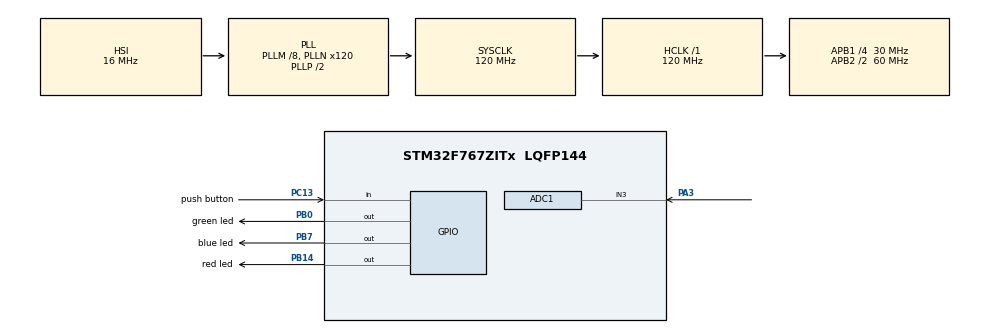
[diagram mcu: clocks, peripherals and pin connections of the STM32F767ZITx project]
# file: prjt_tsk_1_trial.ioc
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ADC1.Channel-0\#ChannelRegularConversion=ADC_CHANNEL_3
ADC1.NbrOfConversionFlag=1
ADC1.Rank-0\#ChannelRegularConversion=1
ADC1.SamplingTime-0\#ChannelRegularConversion=ADC_SAMPLETIME_112CYCLES
ADC1.master=1
FREERTOS.Tasks01=BlinkRedLED,0,128,StartTask01,Default,NULL,Dynamic,NULL,NULL;BlinkBlueLED,0,128,StartTask02,Default,NULL,Dynamic,NULL,NULL;BlinkGreenLED,0,128,StartTask03,Default,NULL,Dynamic,NULL,NULL;PushButton,0,128,StartTask04,Default,NULL,Dynamic,NULL,NULL;adc_pot,0,128,StartTask05,Default,NULL,Dynamic,NULL,NULL
FREERTOS.configUSE_NEWLIB_REENTRANT=1
Mcu.Family=STM32F7
Mcu.Name=STM32F767ZITx
Mcu.Package=LQFP144
NVIC.PriorityGroup=NVIC_PRIORITYGROUP_4
NVIC.TIM2_IRQn=true\:15\:0\:false\:false\:true\:false\:false\:true\:true
NVIC.TimeBase=TIM2_IRQn
NVIC.TimeBaseIP=TIM2
PA13.Mode=Serial_Wire
PA13.Signal=SYS_JTMS-SWDIO
PA14.Mode=Serial_Wire
PA14.Signal=SYS_JTCK-SWCLK
PA3.Signal=ADCx_IN3
PB0.GPIO_Label=green led
PB0.Signal=GPIO_Output
PB14.GPIO_Label=red led
PB14.Signal=GPIO_Output
PB7.GPIO_Label=blue led
PB7.Signal=GPIO_Output
PC13.GPIO_Label=push button
PC13.Signal=GPIO_Input
PH0/OSC_IN.Mode=HSE-External-Oscillator
PH0/OSC_IN.Signal=RCC_OSC_IN
PH1/OSC_OUT.Mode=HSE-External-Oscillator
PH1/OSC_OUT.Signal=RCC_OSC_OUT
ProjectManager.HeapSize=0x200
ProjectManager.StackSize=0x400
ProjectManager.TargetToolchain=STM32CubeIDE
RCC.48MHZClocksFreq_Value=24000000
RCC.AHBFreq_Value=120000000
RCC.APB1CLKDivider=RCC_HCLK_DIV4
RCC.APB1Freq_Value=30000000
RCC.APB1TimFreq_Value=60000000
RCC.APB2CLKDivider=RCC_HCLK_DIV2
RCC.APB2Freq_Value=60000000
RCC.APB2TimFreq_Value=120000000
RCC.CortexFreq_Value=120000000
RCC.HCLKFreq_Value=120000000
RCC.HSE_VALUE=8000000
RCC.HSI_VALUE=16000000
RCC.LSE_VALUE=32768
RCC.PLLM=8
RCC.PLLMUL=RCC_PLL_MUL9
RCC.PLLN=120
RCC.PLLQ=4
RCC.PRESCALERUSB=RCC_USBCLKSOURCE_PLL_DIV1_5
RCC.SYSCLKFreq_VALUE=120000000
RCC.SYSCLKSource=RCC_SYSCLKSOURCE_PLLCLK
RCC.SYSCLKSourceVirtual=RCC_SYSCLKSOURCE_PLLCLK
RCC.USBFreq_Value=60000000
RCC.VCOOutputFreq_Value=240000000
SH.ADCx_IN3.0=ADC1_IN3,IN3
VP_FREERTOS_VS_CMSIS_V1.Mode=CMSIS_V1
VP_SYS_VS_tim2.Mode=TIM2
board=NUCLEO-F767ZI

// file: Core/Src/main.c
/* USER CODE BEGIN Header */
/**
  ******************************************************************************
  * @file           : main.c
  * @brief          : Main program body
  ******************************************************************************
  * @attention
  *
  * Copyright (c) 2024 STMicroelectronics.
  * All rights reserved.
  *
  * This software is licensed under terms that can be found in the LICENSE file
  * in the root directory of this software component.
  * If no LICENSE file comes with this software, it is provided AS-IS.
  *
  ******************************************************************************
  */
/* USER CODE END Header */
#include "main.h"
#include "cmsis_os.h"

ADC_HandleTypeDef hadc1;

osThreadId BlinkRedLEDHandle;
osThreadId BlinkBlueLEDHandle;
osThreadId BlinkGreenLEDHandle;
osThreadId PushButtonHandle;
osThreadId adc_potHandle;

void SystemClock_Config(void);
static void MX_GPIO_Init(void);
static void MX_ADC1_Init(void);
void StartTask01(void);
void StartTask02(void);
void StartTask03(void);
void StartTask04(void);

int main(void)
{

  /* MCU Configuration--------------------------------------------------------*/

  /* Reset of all peripherals, Initializes the Flash interface and the Systick. */
  HAL_Init();

  /* Configure the system clock */
  SystemClock_Config();

  /* Initialize all configured peripherals */
  MX_GPIO_Init();
  MX_ADC1_Init();

  /* Create the thread(s) */
  /* definition and creation of BlinkRedLED */
  osThreadDef(BlinkRedLED, StartTask01, osPriorityNormal, 0, 128);
  BlinkRedLEDHandle = osThreadCreate(osThread(BlinkRedLED), NULL);

  /* definition and creation of BlinkBlueLED */
  osThreadDef(BlinkBlueLED, StartTask02, osPriorityNormal, 0, 128);
  BlinkBlueLEDHandle = osThreadCreate(osThread(BlinkBlueLED), NULL);

  /* definition and creation of BlinkGreenLED */
  osThreadDef(BlinkGreenLED, StartTask03, osPriorityNormal, 0, 128);
  BlinkGreenLEDHandle = osThreadCreate(osThread(BlinkGreenLED), NULL);

  /* definition and creation of PushButton */
  osThreadDef(PushButton, StartTask04, osPriorityNormal, 0, 128);
  PushButtonHandle = osThreadCreate(osThread(PushButton), NULL);

  /* definition and creation of adc_pot */

  /* Start scheduler */
  osKernelStart();

  /* We should never get here as control is now taken by the scheduler */

  /* Infinite loop */
  while (1)
  {

  }
}

void SystemClock_Config(void)
{
  RCC_OscInitTypeDef RCC_OscInitStruct = {0};
  RCC_ClkInitTypeDef RCC_ClkInitStruct = {0};

  /** Configure the main internal regulator output voltage
  */
  __HAL_RCC_PWR_CLK_ENABLE();
  __HAL_PWR_VOLTAGESCALING_CONFIG(PWR_REGULATOR_VOLTAGE_SCALE3);

  /** Initializes the RCC Oscillators according to the specified parameters
  * in the RCC_OscInitTypeDef structure.
  */
  RCC_OscInitStruct.OscillatorType = RCC_OSCILLATORTYPE_HSI;
  RCC_OscInitStruct.HSIState = RCC_HSI_ON;
  RCC_OscInitStruct.HSICalibrationValue = RCC_HSICALIBRATION_DEFAULT;
  RCC_OscInitStruct.PLL.PLLState = RCC_PLL_ON;
  RCC_OscInitStruct.PLL.PLLSource = RCC_PLLSOURCE_HSI;
  RCC_OscInitStruct.PLL.PLLM = 8;
  RCC_OscInitStruct.PLL.PLLN = 120;
  RCC_OscInitStruct.PLL.PLLP = RCC_PLLP_DIV2;
  RCC_OscInitStruct.PLL.PLLQ = 4;
  RCC_OscInitStruct.PLL.PLLR = 2;
  if (HAL_RCC_OscConfig(&RCC_OscInitStruct) != HAL_OK)
  {
    Error_Handler();
  }

  /** Initializes the CPU, AHB and APB buses clocks
  */
  RCC_ClkInitStruct.ClockType = RCC_CLOCKTYPE_HCLK|RCC_CLOCKTYPE_SYSCLK
                              |RCC_CLOCKTYPE_PCLK1|RCC_CLOCKTYPE_PCLK2;
  RCC_ClkInitStruct.SYSCLKSource = RCC_SYSCLKSOURCE_PLLCLK;
  RCC_ClkInitStruct.AHBCLKDivider = RCC_SYSCLK_DIV1;
  RCC_ClkInitStruct.APB1CLKDivider = RCC_HCLK_DIV4;
  RCC_ClkInitStruct.APB2CLKDivider = RCC_HCLK_DIV2;

  if (HAL_RCC_ClockConfig(&RCC_ClkInitStruct, FLASH_LATENCY_3) != HAL_OK)
  {
    Error_Handler();
  }
}

static void MX_ADC1_Init(void)
{

  ADC_ChannelConfTypeDef sConfig = {0};

  /** Configure the global features of the ADC (Clock, Resolution, Data Alignment and number of conversion)
  */
  hadc1.Instance = ADC1;
  hadc1.Init.ClockPrescaler = ADC_CLOCK_SYNC_PCLK_DIV2;
  hadc1.Init.Resolution = ADC_RESOLUTION_12B;
  hadc1.Init.ScanConvMode = ADC_SCAN_DISABLE;
  hadc1.Init.ContinuousConvMode = DISABLE;
  hadc1.Init.DiscontinuousConvMode = DISABLE;
  hadc1.Init.ExternalTrigConvEdge = ADC_EXTERNALTRIGCONVEDGE_NONE;
  hadc1.Init.ExternalTrigConv = ADC_SOFTWARE_START;
  hadc1.Init.DataAlign = ADC_DATAALIGN_RIGHT;
  hadc1.Init.NbrOfConversion = 1;
  hadc1.Init.DMAContinuousRequests = DISABLE;
  hadc1.Init.EOCSelection = ADC_EOC_SINGLE_CONV;
  if (HAL_ADC_Init(&hadc1) != HAL_OK)
  {
    Error_Handler();
  }

  /** Configure for the selected ADC regular channel its corresponding rank in the sequencer and its sample time.
  */
  sConfig.Channel = ADC_CHANNEL_3;
  sConfig.Rank = ADC_REGULAR_RANK_1;
  sConfig.SamplingTime = ADC_SAMPLETIME_112CYCLES;
  if (HAL_ADC_ConfigChannel(&hadc1, &sConfig) != HAL_OK)
  {
    Error_Handler();
  }

}

static void MX_GPIO_Init(void)
{
  GPIO_InitTypeDef GPIO_InitStruct = {0};

  /* GPIO Ports Clock Enable */
  __HAL_RCC_GPIOC_CLK_ENABLE();
  __HAL_RCC_GPIOH_CLK_ENABLE();
  __HAL_RCC_GPIOA_CLK_ENABLE();
  __HAL_RCC_GPIOB_CLK_ENABLE();

  /*Configure GPIO pin Output Level */
  HAL_GPIO_WritePin(GPIOB, green_led_Pin|red_led_Pin|blue_led_Pin, GPIO_PIN_RESET);

  /*Configure GPIO pin : push_button_Pin */
  GPIO_InitStruct.Pin = push_button_Pin;
  GPIO_InitStruct.Mode = GPIO_MODE_INPUT;
  GPIO_InitStruct.Pull = GPIO_NOPULL;
  HAL_GPIO_Init(push_button_GPIO_Port, &GPIO_InitStruct);

  /*Configure GPIO pins : green_led_Pin red_led_Pin blue_led_Pin */
  GPIO_InitStruct.Pin = green_led_Pin|red_led_Pin|blue_led_Pin;
  GPIO_InitStruct.Mode = GPIO_MODE_OUTPUT_PP;
  GPIO_InitStruct.Pull = GPIO_NOPULL;
  GPIO_InitStruct.Speed = GPIO_SPEED_FREQ_LOW;
  HAL_GPIO_Init(GPIOB, &GPIO_InitStruct);

}

void StartTask01(void)
{
  /* USER CODE BEGIN 5 */
  /* Infinite loop */
	 for (;;) {
	        // Toggle LED red
	        HAL_GPIO_TogglePin(GPIOB, GPIO_PIN_14);
	        vTaskDelay(pdMS_TO_TICKS(1500)); // Delay for 500 milliseconds
	    }

  /* USER CODE END 5 */
}

void StartTask02(void)
{
  /* USER CODE BEGIN StartTask02 */
  /* Infinite loop */
    for (;;) {
        // Glow the blue LED three times for 1500ms each
        for (int i = 0; i < 3; i++)
        {
            HAL_GPIO_WritePin(GPIOB, GPIO_PIN_7, GPIO_PIN_SET); // Turn on LED
            vTaskDelay(pdMS_TO_TICKS(1500)); // Delay for 1500 milliseconds
            HAL_GPIO_WritePin(GPIOB, GPIO_PIN_7, GPIO_PIN_RESET); // Turn off LED
            vTaskDelay(pdMS_TO_TICKS(1500)); // Delay for 1500 milliseconds
        }

        // Glow the blue LED two times for 100ms each
        for (int i = 0; i < 2; i++)
        {
            HAL_GPIO_WritePin(GPIOB, GPIO_PIN_7, GPIO_PIN_SET); // Turn on LED
            vTaskDelay(pdMS_TO_TICKS(100)); // Delay for 100 milliseconds
            HAL_GPIO_WritePin(GPIOB, GPIO_PIN_7, GPIO_PIN_RESET); // Turn off LED
            vTaskDelay(pdMS_TO_TICKS(100)); // Delay for 100 milliseconds
        }
    }

  /* USER CODE END StartTask02 */
}

void StartTask03(void)
{
  /* USER CODE BEGIN StartTask03 */
  /* Infinite loop */
	for (;;) {
		        // Toggle LED green
		        HAL_GPIO_TogglePin(GPIOB, GPIO_PIN_0);
		        vTaskDelay(pdMS_TO_TICKS(100)); // Delay for 500 milliseconds
		    }
  /* USER CODE END StartTask03 */
}

void StartTask04(void)
{
  /* USER CODE BEGIN StartTask04 */
  /* Infinite loop */
	for (;;) {
	        // Check if the push button is pressed
	        if (HAL_GPIO_ReadPin(GPIOC, GPIO_PIN_13) == GPIO_PIN_SET) {
	            // If the button is pressed, blink the LED faster
	        	HAL_GPIO_TogglePin(GPIOB, GPIO_PIN_14);
	            vTaskDelay(pdMS_TO_TICKS(100)); // Delay for 100 milliseconds
	        } else {
	            // If the button is not pressed, blink the LED normally
	        	void StartTask01();
	        }

	        // Toggle the LED

	    }
  /* USER CODE END StartTask04 */
}

void HAL_TIM_PeriodElapsedCallback(TIM_HandleTypeDef *htim)
{
  if (htim->Instance == TIM2) {
    HAL_IncTick();
  }
}

void Error_Handler(void)
{
  __disable_irq();
  while (1)
  {
  }
}
